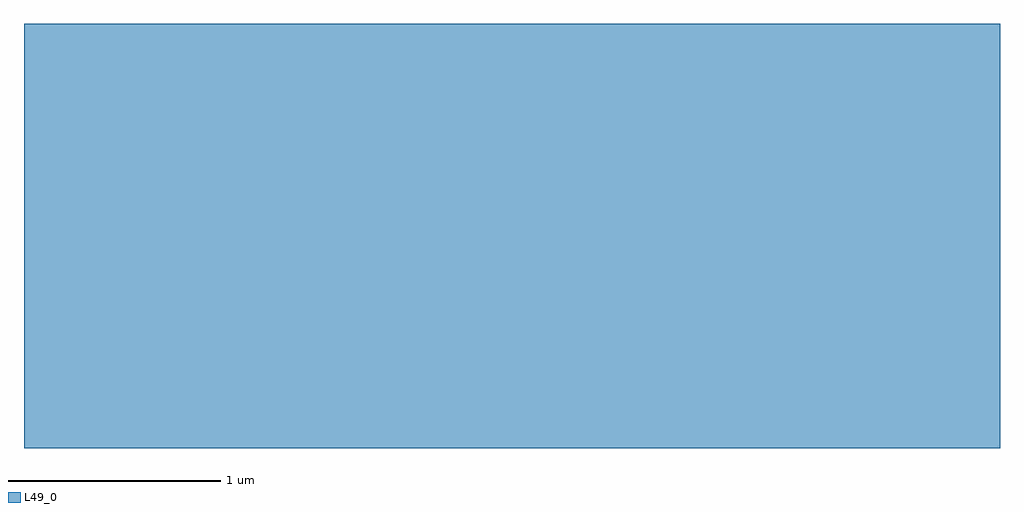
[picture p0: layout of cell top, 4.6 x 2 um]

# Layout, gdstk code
import gdstk
lib = gdstk.Library(unit=1e-6, precision=1e-09)
def R(c, l, rs):  # rectangles x0, y0, x1, y1
    for r in rs: c.add(gdstk.rectangle(r[:2], r[2:], *l))
def A(c, l, x, y, w, h, nx, ny, dx, dy):  # array of equal rectangles
    R(c, l, [(x+i*dx, y+j*dy, x+i*dx+w, y+j*dy+h) for i in range(nx) for j in range(ny)])
L49_0 = (49, 0)

child = lib.new_cell('child')
R(child, L49_0, [(0,0,1,2)])

top = lib.new_cell('top')
A(top, L49_0, 1, 0, 0.2, 2, 3, 1, 1.2, 0)
r = gdstk.Reference(child, (0,0)); r.repetition = gdstk.Repetition(4, 1, v1=(1.2,0), v2=(0,2)); top.add(r)

lib.write_gds('top.gds')
